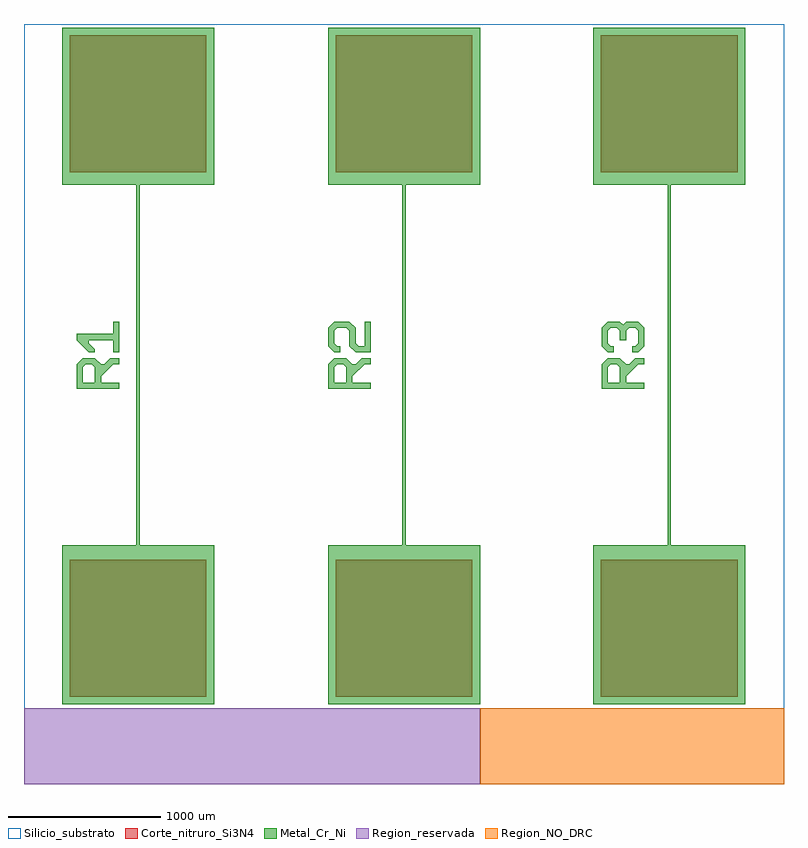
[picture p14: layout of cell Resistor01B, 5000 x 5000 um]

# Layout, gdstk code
from math import pi, radians
import gdstk
lib = gdstk.Library(unit=1e-6, precision=1e-06)
def R(c, l, rs):  # rectangles x0, y0, x1, y1
    for r in rs: c.add(gdstk.rectangle(r[:2], r[2:], *l))
def P(c, l, *ps):  # polygons
    for p in ps: c.add(gdstk.Polygon(p, *l))
Silicio_substrato = (1, 1)
Region_reservada = (1, 2)
Region_NO_DRC = (1, 3)
Metal_Cr_Ni = (2, 0)
Corte_nitruro_Si3N4 = (3, 0)

text_21 = lib.new_cell('TEXT$21')
P(text_21, Metal_Cr_Ni, [(0,0),(0,280),(160,280),(200,240),(40,240),(40,160),(140,160),(160,180),(160,220),(140,240),(200,240),(200,160),(160,120),(160,100),(200,60),(200,0),(160,0),(160,40),(80,120),(40,120),(40,0)],
  [(240,0),(240,100),(280,140),(380,140),(400,160),(400,220),(380,240),(300,240),(280,220),(280,200),(240,200),(240,240),(280,280),(400,280),(440,240),(440,140),(400,100),(300,100),(280,80),(280,40),(440,40),(440,0)])

text_22 = lib.new_cell('TEXT$22')
P(text_22, Metal_Cr_Ni, [(0,0),(0,280),(160,280),(200,240),(40,240),(40,160),(140,160),(160,180),(160,220),(140,240),(200,240),(200,160),(160,120),(160,100),(200,60),(200,0),(160,0),(160,40),(80,120),(40,120),(40,0)],
  [(280,0),(240,40),(240,80),(280,80),(280,60),(300,40),(380,40),(400,60),(400,100),(380,120),(320,120),(320,160),(380,160),(400,180),(400,220),(380,240),(300,240),(280,220),(280,200),(240,200),(240,240),(280,280),(400,280),(440,240),(440,160),(420,140),(440,120),(440,40),(400,0)])

text_16 = lib.new_cell('TEXT$16')
P(text_16, Metal_Cr_Ni, [(0,0),(0,280),(160,280),(200,240),(40,240),(40,160),(140,160),(160,180),(160,220),(140,240),(200,240),(200,160),(160,120),(160,100),(200,60),(200,0),(160,0),(160,40),(80,120),(40,120),(40,0)],
  [(240,0),(240,40),(320,40),(320,200),(300,200),(260,160),(240,160),(240,200),(320,280),(360,280),(360,40),(440,40),(440,0)])

resistor01b = lib.new_cell('Resistor01B')
R(resistor01b, Silicio_substrato, [(0,0,5000,5000)])
R(resistor01b, Region_reservada, [(0,0,3000,500)])
R(resistor01b, Region_NO_DRC, [(3000,0,5000,500)])
R(resistor01b, Metal_Cr_Ni, [(250,525,1250,1570), (2000,525,3000,1570), (3745,525,4745,1570), (740,1217,760,4264), (2490,1217,2510,4264), (4235,1217,4255,4264), (250,3942,1250,4975), (2000,3942,3000,4975), (3745,3942,4745,4975)])
R(resistor01b, Corte_nitruro_Si3N4, [(300,575,1200,1475), (300,575,1200,1475), (2050,575,2950,1475), (2050,575,2950,1475), (3795,575,4695,1475), (3795,575,4695,1475), (300,4025,1200,4925), (300,4025,1200,4925), (2050,4025,2950,4925), (2050,4025,2950,4925), (3795,4025,4695,4925), (3795,4025,4695,4925)])
resistor01b.add(gdstk.Reference(text_21, (2281,2601), rotation=pi/2))
resistor01b.add(gdstk.Reference(text_22, (4081,2601), rotation=pi/2))
resistor01b.add(gdstk.Reference(text_16, (627,2601), rotation=pi/2))

lib.write_gds('Resistor01B.gds')
